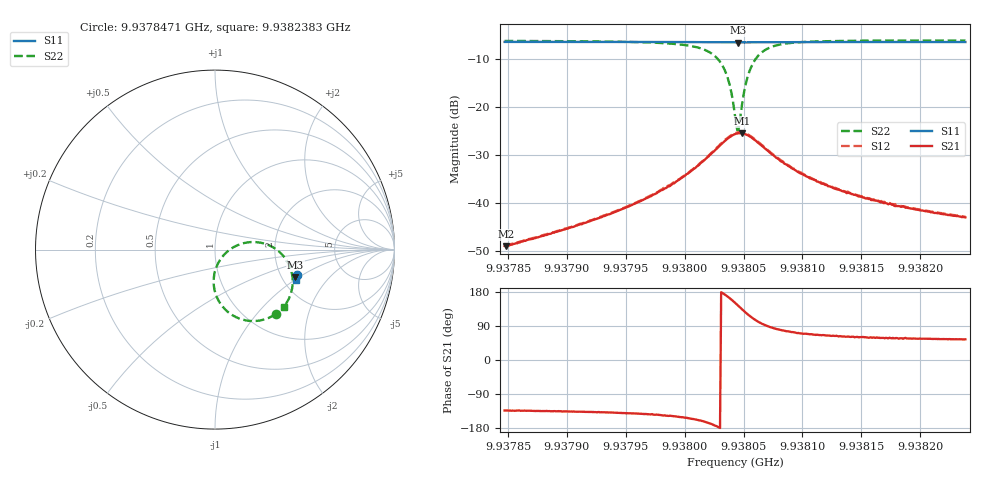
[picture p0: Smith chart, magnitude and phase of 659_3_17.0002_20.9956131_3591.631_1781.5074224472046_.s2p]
#  HZ  S  RI  R  50.00
! Rohde & Schwarz Vector Network Analyzer
! Rohde-Schwarz,ZNB20-2Port,1311601062101988,3.16
! Created: UTC 3/20/2024, 11:21:41 PM
! freq[Hz]  re:S11  im:S11  re:S21  im:S21  re:S12  im:S12  re:S22  im:S22
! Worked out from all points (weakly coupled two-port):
!   401 points, 9.9378471 GHz to 9.9382383 GHz, reference 50 ohm
!   highest |S21| = -25.36 dB at 9.9380486 GHz (marker M1); lowest = -48.9 dB at 9.9378481 GHz (marker M2)
!   lowest |S11| = -6.5 dB at 9.9380457 GHz (marker M3), VSWR 2.80, Z = 118 - j46.9 ohm
!   |S11| at or under -10 dB: nowhere
!   |S22| runs from -24.7 to -6.1 dB; largest |S21 - S12| = 0.0017
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9.93784715e9  0.4591 -0.1442  -0.00247 -0.00263  -0.00254 -0.00263  0.3371 -0.3593
9.93784813e9  0.459 -0.1442  -0.00246 -0.00262  -0.00252 -0.00263  0.337 -0.3594
9.93791267e9  0.4572 -0.1487  -0.00441 -0.00418  -0.00455 -0.0042  0.3157 -0.3723
9.9379782e9  0.4548 -0.1535  -0.0109 -0.00767  -0.0111 -0.0076  0.2567 -0.3936
9.93800949e9  0.4528 -0.1559  -0.0218 -0.00928  -0.0224 -0.00907  0.1644 -0.3928
9.93802612e9  0.4505 -0.1569  -0.0359 -0.00409  -0.0366 -0.00387  0.0571 -0.3338
9.93803199e9  0.4495 -0.1565  -0.0424 0.00221  -0.0433 0.00291  0.0142 -0.2736
9.9380359e9  0.4488 -0.156  -0.0458 0.00904  -0.0466 0.00972  -0.00471 -0.2138
9.93803981e9  0.4484 -0.1553  -0.0473 0.018  -0.048 0.019  -0.0044 -0.1398
9.93804274e9  0.4483 -0.1546  -0.0463 0.0253  -0.0468 0.0265  0.0149 -0.0809
9.9380447e9  0.4482 -0.1542  -0.0441 0.0303  -0.0448 0.0318  0.0377 -0.0441
9.93804568e9  0.4483 -0.1539  -0.043 0.0326  -0.0434 0.0342  0.0521 -0.0268
9.93804861e9  0.4488 -0.1533  -0.0376 0.0387  -0.0376 0.0403  0.1043 0.0142
9.93805154e9  0.4495 -0.1528  -0.0308 0.0427  -0.0307 0.0443  0.1642 0.037
9.93805448e9  0.45 -0.1525  -0.0238 0.0446  -0.0235 0.0461  0.2237 0.0421
9.93805839e9  0.4509 -0.1527  -0.0153 0.0444  -0.0146 0.0457  0.2926 0.0274
9.93806426e9  0.4521 -0.1532  -0.00561 0.0407  -0.00488 0.0417  0.3637 -0.0174
9.93807893e9  0.4532 -0.1552  0.00447 0.029  0.00524 0.0294  0.4271 -0.1275
9.93810827e9  0.4529 -0.1586  0.00682 0.0166  0.00732 0.0167  0.4261 -0.232
9.93813565e9  0.4524 -0.1609  0.00625 0.0117  0.00657 0.0117  0.4126 -0.2711
9.93817379e9  0.4513 -0.1637  0.00515 0.00848  0.00558 0.00842  0.398 -0.2976
9.93823834e9  0.4493 -0.1681  0.00415 0.00584  0.00432 0.00583  0.3821 -0.3193
